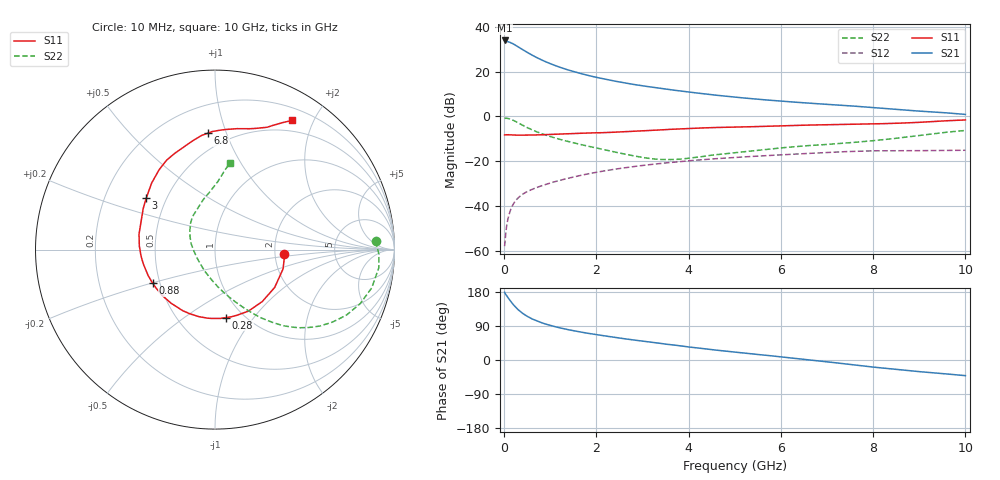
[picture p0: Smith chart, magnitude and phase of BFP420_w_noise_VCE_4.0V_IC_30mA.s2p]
! (c) 2016  Infineon Technologies AG, Munich
! Infineon Technologies  Discrete & RF Semiconductors
! BFP420
! VCE =  4.0 V,  IC =  30 mA
! Common Emitter S-Parameters:  Jan 2016
# GHz  S  MA  R  50
!  f  S11  S21  S12  S22
! GHz  MAG  ANG  MAG  ANG  MAG  ANG  MAG  ANG
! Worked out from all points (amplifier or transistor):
!   233 points, 10 MHz to 10 GHz, reference 50 ohm
!   highest |S21| = 33.8 dB at 10 MHz (marker M1)
!   |S21| within 3 dB of that: start of sweep to 317 MHz
!   unconditionally stable (mu >= 1): start of sweep to 20.83 MHz; 1.582 GHz to end of sweep
!   at 200 MHz: K = 0.36, MSG = 35.6 dB, |S12| = -38.9 dB
!   at 1.74 GHz: K = 1.03, MAG = 21.3 dB, |S12| = -25.9 dB
!   at 10 GHz: K = 1.06, MAG = 6.5 dB, |S12| = -15.0 dB
!   lowest NFmin = 1.51 dB at 900 MHz
!   S11 on the Smith chart (normalised r, x): 10 MHz: 2.26, -0.12; 280 MHz: 0.83, -0.74; 880 MHz: 0.46, -0.20; 3 GHz: 0.39, +0.29; 6.8 GHz: 0.38, +0.87; 10 GHz: 0.35, +1.71
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0.01  0.3878 -3.3  49.2 178.7  0.0013 65.9  0.8956 3.0
0.02  0.3892 -5.7  47.9 175.7  0.0017 66.2  0.9138 -1.6
0.065  0.3906 -20.8  46.72 167.7  0.0042 72.7  0.911 -8.5
0.1  0.3937 -32.4  45.89 161.6  0.0062 73.3  0.8991 -13.7
0.15  0.3914 -47.7  43.67 153.3  0.0089 70.6  0.8634 -20.4
0.2  0.3901 -61.5  41.13 145.9  0.0113 67.9  0.8194 -26.3
0.28  0.3837 -80.8  36.71 135.6  0.0146 64.5  0.7435 -34.0
0.34  0.3841 -93.0  33.67 129.0  0.0167 62.4  0.6888 -38.9
0.4  0.3842 -103.5  30.82 123.2  0.0186 60.9  0.6386 -43.0
0.5  0.3849 -117.9  26.69 115.3  0.0213 59.4  0.5657 -48.4
0.6  0.3862 -129.3  23.33 108.7  0.0237 58.5  0.5066 -52.5
0.7  0.3893 -138.7  20.6 103.4  0.0261 58.2  0.4584 -56.0
0.88  0.3942 -151.6  16.87 95.6  0.0302 58.0  0.3923 -61.0
1.2  0.4068 -168.3  12.54 85.0  0.0377 57.9  0.3109 -68.9
1.68  0.4239 174.9  8.927 73.4  0.0494 56.4  0.2352 -79.9
2.2  0.4387 160.7  6.717 63.2  0.0622 53.2  0.1796 -93.0
3  0.4785 143.2  4.81 49.8  0.0813 46.7  0.1229 -123.5
3.4  0.5041 135.4  4.205 43.7  0.0902 42.9  0.1107 -144.9
5.1  0.5834 111.8  2.635 19.6  0.1244 27.1  0.1602 150.4
6.8  0.6503 93.4  1.921 -2.1  0.1543 11.3  0.2315 119.5
8.4  0.7002 74.1  1.466 -23.7  0.1728 -6.5  0.3186 95.9
10  0.8378 59.2  1.112 -41.3  0.1772 -19.0  0.4888 80.2
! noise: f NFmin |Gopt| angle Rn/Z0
0.9  1.51  0.26  -155  0.13
1.8  1.78  0.33  -142  0.14
2.4  1.96  0.3  -136  0.18
3  1.98  0.38  -127  0.2
4  2.11  0.47  -111  0.31
5  2.57  0.53  -94  0.51
6  3  0.57  -82  0.74
